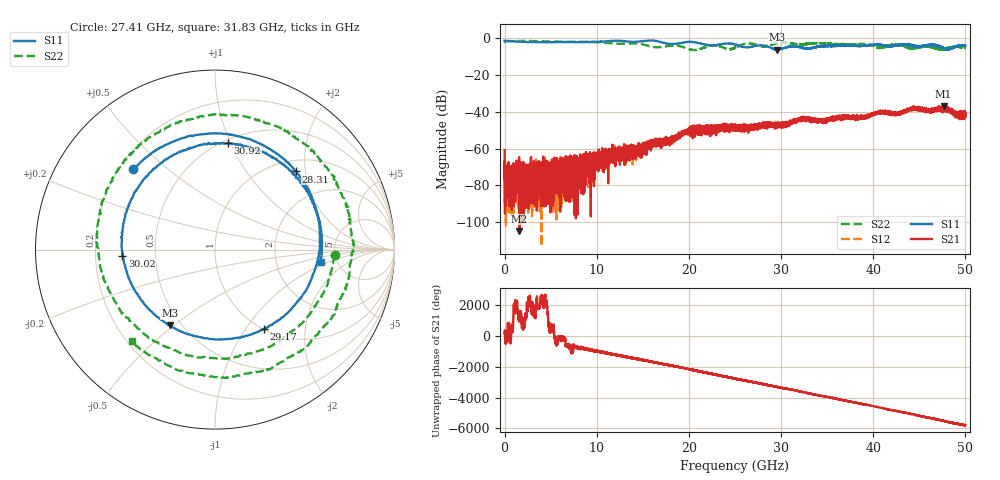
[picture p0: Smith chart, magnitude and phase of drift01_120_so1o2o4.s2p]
!Created with skrf (http://scikit-rf.org).
# Hz S RI R 50.0
!freq ReS11 ImS11 ReS21 ImS21 ReS12 ImS12 ReS22 ImS22
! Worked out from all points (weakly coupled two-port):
!   10001 points, 300 kHz to 50 GHz, reference 50 ohm
!   highest |S21| = -36.78 dB at 47.63 GHz (marker M1); lowest = -104.9 dB at 1.595 GHz (marker M2)
!   lowest |S11| = -6.2 dB at 29.61 GHz (marker M3), VSWR 2.94, Z = 21.7 - j24.2 ohm
!   |S11| at or under -10 dB: nowhere
!   |S22| runs from -6.4 to -1.4 dB; largest |S21 - S12| = 0.0038
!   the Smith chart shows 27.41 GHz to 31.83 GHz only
!   S11 on the Smith chart (normalised r, x): 27.41 GHz: 0.26, +0.39; 28.31 GHz: 1.23, +1.77; 29.17 GHz: 1.00, -1.22; 30.02 GHz: 0.32, -0.03; 30.92 GHz: 0.53, +0.98; 31.83 GHz: 3.73, -0.82
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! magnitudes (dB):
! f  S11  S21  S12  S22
! 300 kHz  -1.3  -60.9  -65.5  -2.1
! 315.3 MHz  -1.3  -70.9  -78.2  -1.4
! 1.595 GHz  -1.8  -104.9  -79.2  -1.4
! 5.515 GHz  -2.0  -77.9  -76.6  -1.7
! 8.335 GHz  -2.0  -69.0  -65.5  -1.8
! 10.7 GHz  -1.7  -65.5  -62.1  -2.3
! 14.1 GHz  -1.8  -59.9  -63.9  -2.8
! 16.67 GHz  -1.6  -56.6  -56.7  -4.8
! 20.03 GHz  -1.9  -50.5  -50.9  -5.9
! 22.62 GHz  -3.8  -47.8  -49.4  -3.8
! 25 GHz  -3.3  -47.9  -48.2  -5.0
! 27.41 GHz  -3.9  -48.0  -47.0  -3.5
! 28.31 GHz  -4.1  -46.5  -46.4  -4.3
! 29.17 GHz  -5.7  -47.8  -46.8  -3.0
! 29.61 GHz  -6.2  -47.5  -46.8  -2.5
! 30.02 GHz  -5.7  -46.4  -47.7  -2.3
! 30.92 GHz  -4.5  -45.6  -45.7  -2.5
! 31.83 GHz  -4.5  -44.4  -44.5  -3.2
! 33.34 GHz  -5.3  -45.1  -44.6  -2.6
! 41.67 GHz  -4.2  -40.7  -41.0  -4.1
! 47.63 GHz  -5.3  -36.8  -38.5  -5.9
! 50 GHz  -3.8  -42.3  -41.0  -5.3
